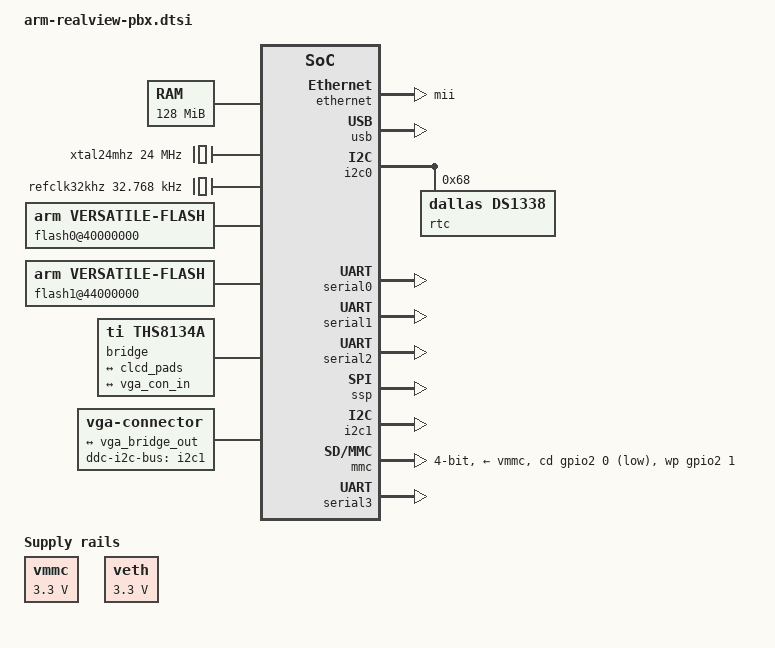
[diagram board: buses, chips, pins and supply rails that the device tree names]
/*
 * Copyright 2016 Linaro Ltd
 *
 * Permission is hereby granted, free of charge, to any person obtaining a copy
 * of this software and associated documentation files (the "Software"), to deal
 * in the Software without restriction, including without limitation the rights
 * to use, copy, modify, merge, publish, distribute, sublicense, and/or sell
 * copies of the Software, and to permit persons to whom the Software is
 * furnished to do so, subject to the following conditions:
 *
 * The above copyright notice and this permission notice shall be included in
 * all copies or substantial portions of the Software.
 *
 * THE SOFTWARE IS PROVIDED "AS IS", WITHOUT WARRANTY OF ANY KIND, EXPRESS OR
 * IMPLIED, INCLUDING BUT NOT LIMITED TO THE WARRANTIES OF MERCHANTABILITY,
 * FITNESS FOR A PARTICULAR PURPOSE AND NONINFRINGEMENT. IN NO EVENT SHALL
 * THE AUTHORS OR COPYRIGHT HOLDERS BE LIABLE FOR ANY CLAIM, DAMAGES OR OTHER
 * LIABILITY, WHETHER IN AN ACTION OF CONTRACT, TORT OR OTHERWISE, ARISING FROM,
 * OUT OF OR IN CONNECTION WITH THE SOFTWARE OR THE USE OR OTHER DEALINGS IN
 * THE SOFTWARE.
 */

#include <dt-bindings/interrupt-controller/irq.h>
#include <dt-bindings/gpio/gpio.h>
#include "skeleton.dtsi"

/ {
	compatible = "arm,realview-pbx";

	chosen { };

	aliases {
		serial0 = &serial0;
		serial1 = &serial1;
		serial2 = &serial2;
		serial3 = &serial3;
		i2c0 = &i2c0;
		i2c1 = &i2c1;
	};

	memory {
		/* 128 MiB memory @ 0x0 */
		reg = <0x00000000 0x08000000>;
	};

	/* The voltage to the MMC card is hardwired at 3.3V */
	vmmc: regulator-vmmc {
		compatible = "regulator-fixed";
		regulator-name = "vmmc";
		regulator-min-microvolt = <3300000>;
		regulator-max-microvolt = <3300000>;
		regulator-boot-on;
        };

	veth: regulator-veth {
		compatible = "regulator-fixed";
		regulator-name = "veth";
		regulator-min-microvolt = <3300000>;
		regulator-max-microvolt = <3300000>;
		regulator-boot-on;
	};

	xtal24mhz: xtal24mhz@24M {
		#clock-cells = <0>;
		compatible = "fixed-clock";
		clock-frequency = <24000000>;
	};

	refclk32khz: refclk32khz {
		#clock-cells = <0>;
		compatible = "fixed-clock";
		clock-frequency = <32768>;
	};

	timclk: timclk@1M {
		#clock-cells = <0>;
		compatible = "fixed-factor-clock";
		clock-div = <24>;
		clock-mult = <1>;
		clocks = <&xtal24mhz>;
	};

	mclk: mclk@24M {
		#clock-cells = <0>;
		compatible = "fixed-factor-clock";
		clock-div = <1>;
		clock-mult = <1>;
		clocks = <&xtal24mhz>;
	};

	kmiclk: kmiclk@24M {
		#clock-cells = <0>;
		compatible = "fixed-factor-clock";
		clock-div = <1>;
		clock-mult = <1>;
		clocks = <&xtal24mhz>;
	};

	sspclk: sspclk@24M {
		#clock-cells = <0>;
		compatible = "fixed-factor-clock";
		clock-div = <1>;
		clock-mult = <1>;
		clocks = <&xtal24mhz>;
	};

	uartclk: uartclk@24M {
		#clock-cells = <0>;
		compatible = "fixed-factor-clock";
		clock-div = <1>;
		clock-mult = <1>;
		clocks = <&xtal24mhz>;
	};

	wdogclk: wdogclk@24M {
		#clock-cells = <0>;
		compatible = "fixed-factor-clock";
		clock-div = <1>;
		clock-mult = <1>;
		clocks = <&xtal24mhz>;
	};

	/* FIXME: this actually hangs off the PLL clocks */
	pclk: pclk@0 {
		#clock-cells = <0>;
		compatible = "fixed-clock";
		clock-frequency = <0>;
	};

	flash0@40000000 {
		/* 2 * 32MiB NOR Flash memory */
		compatible = "arm,versatile-flash", "cfi-flash";
		reg = <0x40000000 0x04000000>;
		bank-width = <4>;
	};

	flash1@44000000 {
		/* 2 * 32MiB NOR Flash memory */
		compatible = "arm,versatile-flash", "cfi-flash";
		reg = <0x44000000 0x04000000>;
		bank-width = <4>;
	};

	/* SMSC 9118 ethernet with PHY and EEPROM */
	ethernet: ethernet@4e000000 {
		compatible = "smsc,lan9118", "smsc,lan9115";
		reg = <0x4e000000 0x10000>;
		phy-mode = "mii";
		reg-io-width = <4>;
		smsc,irq-active-high;
		smsc,irq-push-pull;
		vdd33a-supply = <&veth>;
		vddvario-supply = <&veth>;
	};

	usb: usb@4f000000 {
		compatible = "nxp,usb-isp1761";
		reg = <0x4f000000 0x20000>;
		port1-otg;
	};

	bridge {
		compatible = "ti,ths8134a", "ti,ths8134";
		#address-cells = <1>;
		#size-cells = <0>;

		ports {
			#address-cells = <1>;
			#size-cells = <0>;

			port@0 {
				reg = <0>;

				vga_bridge_in: endpoint {
					remote-endpoint = <&clcd_pads>;
				};
			};

			port@1 {
				reg = <1>;

				vga_bridge_out: endpoint {
					remote-endpoint = <&vga_con_in>;
				};
			};
		};
	};

	vga {
		/*
		 * This DDC I2C is connected directly to the DVI portions
		 * of the connector, so it's not really working when the
		 * monitor is connected to the VGA connector.
		 */
		compatible = "vga-connector";
		ddc-i2c-bus = <&i2c1>;

		port {
			vga_con_in: endpoint {
				remote-endpoint = <&vga_bridge_out>;
			};
		};
	};

	soc: soc@0 {
		compatible = "arm,realview-pbx-soc", "simple-bus";
		#address-cells = <1>;
		#size-cells = <1>;
		regmap = <&syscon>;
		ranges;

		syscon: syscon@10000000 {
			compatible = "arm,realview-pbx-syscon", "syscon", "simple-mfd";
			reg = <0x10000000 0x1000>;

			led@08.0 {
				compatible = "register-bit-led";
				offset = <0x08>;
				mask = <0x01>;
				label = "versatile:0";
				linux,default-trigger = "heartbeat";
				default-state = "on";
			};
			led@08.1 {
				compatible = "register-bit-led";
				offset = <0x08>;
				mask = <0x02>;
				label = "versatile:1";
				linux,default-trigger = "mmc0";
				default-state = "off";
			};
			led@08.2 {
				compatible = "register-bit-led";
				offset = <0x08>;
				mask = <0x04>;
				label = "versatile:2";
				linux,default-trigger = "cpu0";
				default-state = "off";
			};
			led@08.3 {
				compatible = "register-bit-led";
				offset = <0x08>;
				mask = <0x08>;
				label = "versatile:3";
				default-state = "off";
			};
			led@08.4 {
				compatible = "register-bit-led";
				offset = <0x08>;
				mask = <0x10>;
				label = "versatile:4";
				default-state = "off";
			};
			led@08.5 {
				compatible = "register-bit-led";
				offset = <0x08>;
				mask = <0x20>;
				label = "versatile:5";
				default-state = "off";
			};
			led@08.6 {
				compatible = "register-bit-led";
				offset = <0x08>;
				mask = <0x40>;
				label = "versatile:6";
				default-state = "off";
			};
			led@08.7 {
				compatible = "register-bit-led";
				offset = <0x08>;
				mask = <0x80>;
				label = "versatile:7";
				default-state = "off";
			};
			oscclk0: osc0@0c {
				compatible = "arm,syscon-icst307";
				#clock-cells = <0>;
				lock-offset = <0x20>;
				vco-offset = <0x0C>;
				clocks = <&xtal24mhz>;
			};
			oscclk1: osc1@10 {
				compatible = "arm,syscon-icst307";
				#clock-cells = <0>;
				lock-offset = <0x20>;
				vco-offset = <0x10>;
				clocks = <&xtal24mhz>;
			};
			oscclk2: osc2@14 {
				compatible = "arm,syscon-icst307";
				#clock-cells = <0>;
				lock-offset = <0x20>;
				vco-offset = <0x14>;
				clocks = <&xtal24mhz>;
			};
			oscclk3: osc3@18 {
				compatible = "arm,syscon-icst307";
				#clock-cells = <0>;
				lock-offset = <0x20>;
				vco-offset = <0x18>;
				clocks = <&xtal24mhz>;
			};
			oscclk4: osc4@1c {
				compatible = "arm,syscon-icst307";
				#clock-cells = <0>;
				lock-offset = <0x20>;
				vco-offset = <0x1c>;
				clocks = <&xtal24mhz>;
			};
		};

		sp810_syscon0: sysctl@10001000 {
			compatible = "arm,sp810", "arm,primecell";
			reg = <0x10001000 0x1000>;
			clocks = <&refclk32khz>, <&timclk>, <&xtal24mhz>;
			clock-names = "refclk", "timclk", "apb_pclk";
			#clock-cells = <1>;
			clock-output-names = "timerclk0",
					     "timerclk1",
					     "timerclk2",
					     "timerclk3";
			assigned-clocks = <&sp810_syscon0 0>,
					  <&sp810_syscon0 1>,
					  <&sp810_syscon0 2>,
					  <&sp810_syscon0 3>;
			assigned-clock-parents = <&timclk>,
					       <&timclk>,
					       <&timclk>,
					       <&timclk>;
		};

		i2c0: i2c@10002000 {
			#address-cells = <1>;
			#size-cells = <0>;
			compatible = "arm,versatile-i2c";
			reg = <0x10002000 0x1000>;

			rtc@68 {
				compatible = "dallas,ds1338";
				reg = <0x68>;
			};
		};

		serial0: serial@10009000 {
			compatible = "arm,pl011", "arm,primecell";
			reg = <0x10009000 0x1000>;
			clocks = <&uartclk>, <&pclk>;
			clock-names = "uartclk", "apb_pclk";
		};

		serial1: serial@1000a000 {
			compatible = "arm,pl011", "arm,primecell";
			reg = <0x1000a000 0x1000>;
			clocks = <&uartclk>, <&pclk>;
			clock-names = "uartclk", "apb_pclk";
		};

		serial2: serial@1000b000 {
			compatible = "arm,pl011", "arm,primecell";
			reg = <0x1000b000 0x1000>;
			clocks = <&uartclk>, <&pclk>;
			clock-names = "uartclk", "apb_pclk";
		};

		ssp: spi@1000d000 {
			compatible = "arm,pl022", "arm,primecell";
			reg = <0x1000d000 0x1000>;
			clocks = <&sspclk>, <&pclk>;
			clock-names = "SSPCLK", "apb_pclk";
		};

		wdog0: watchdog@1000f000 {
			compatible = "arm,sp805", "arm,primecell";
			reg = <0x1000f000 0x1000>;
			clocks = <&wdogclk>, <&pclk>;
			clock-names = "wdogclk", "apb_pclk";
			status = "disabled";
		};

		wdog1: watchdog@10010000 {
			compatible = "arm,sp805", "arm,primecell";
			reg = <0x10010000 0x1000>;
			clocks = <&wdogclk>, <&pclk>;
			clock-names = "wdogclk", "apb_pclk";
			status = "disabled";
		};

		timer01: timer@10011000 {
			compatible = "arm,sp804", "arm,primecell";
			reg = <0x10011000 0x1000>;
			clocks = <&sp810_syscon0 0>,
			         <&sp810_syscon0 1>,
				 <&pclk>;
			clock-names = "timerclk0",
				    "timerclk1",
				    "apb_pclk";
		};

		timer23: timer@10012000 {
			compatible = "arm,sp804", "arm,primecell";
			reg = <0x10012000 0x1000>;
			clocks = <&sp810_syscon0 2>,
			         <&sp810_syscon0 3>,
				 <&pclk>;
			clock-names = "timerclk2",
				    "timerclk3",
				    "apb_pclk";
		};

		gpio0: gpio@10013000 {
			compatible = "arm,pl061", "arm,primecell";
			reg = <0x10013000 0x1000>;
			gpio-controller;
			#gpio-cells = <2>;
			interrupt-controller;
			#interrupt-cells = <2>;
			clocks = <&pclk>;
			clock-names = "apb_pclk";
		};

		gpio1: gpio@10014000 {
			compatible = "arm,pl061", "arm,primecell";
			reg = <0x10014000 0x1000>;
			gpio-controller;
			#gpio-cells = <2>;
			interrupt-controller;
			#interrupt-cells = <2>;
			clocks = <&pclk>;
			clock-names = "apb_pclk";
		};

		gpio2: gpio@10015000 {
			compatible = "arm,pl061", "arm,primecell";
			reg = <0x10015000 0x1000>;
			gpio-controller;
			#gpio-cells = <2>;
			interrupt-controller;
			#interrupt-cells = <2>;
			clocks = <&pclk>;
			clock-names = "apb_pclk";
		};

		i2c1: i2c@10016000 {
			#address-cells = <1>;
			#size-cells = <0>;
			compatible = "arm,versatile-i2c";
			reg = <0x10016000 0x1000>;
		};

		rtc: rtc@10017000 {
			compatible = "arm,pl031", "arm,primecell";
			reg = <0x10017000 0x1000>;
			clocks = <&pclk>;
			clock-names = "apb_pclk";
		};

		timer45: timer@10018000 {
			compatible = "arm,sp804", "arm,primecell";
			reg = <0x10018000 0x1000>;
			clocks = <&timclk>, <&timclk>, <&pclk>;
			clock-names = "timerclk4", "timerclk5", "apb_pclk";
		};

		timer67: timer@10019000 {
			compatible = "arm,sp804", "arm,primecell";
			reg = <0x10019000 0x1000>;
			clocks = <&timclk>, <&timclk>, <&pclk>;
			clock-names = "timerclk6", "timerclk7", "apb_pclk";
		};

		sp810_syscon1: sysctl@1001a000 {
			compatible = "arm,sp810", "arm,primecell";
			reg = <0x1001a000 0x1000>;
			clocks = <&refclk32khz>, <&timclk>, <&xtal24mhz>;
			clock-names = "refclk", "timclk", "apb_pclk";
			#clock-cells = <1>;
			clock-output-names = "timerclk4",
					     "timerclk5",
					     "timerclk6",
					     "timerclk7";
			assigned-clocks = <&sp810_syscon1 0>,
					  <&sp810_syscon1 1>,
					  <&sp810_syscon1 2>,
					  <&sp810_syscon1 3>;
			assigned-clock-parents = <&timclk>,
					       <&timclk>,
					       <&timclk>,
					       <&timclk>;
		};
	};


	/* These peripherals are inside the FPGA */
	fpga {
		#address-cells = <1>;
		#size-cells = <1>;
		compatible = "simple-bus";
		ranges;

		aaci: aaci@10004000 {
			compatible = "arm,pl041", "arm,primecell";
			reg = <0x10004000 0x1000>;
			clocks = <&pclk>;
			clock-names = "apb_pclk";
		};

		mmc: mmcsd@10005000 {
			compatible = "arm,pl18x", "arm,primecell";
			reg = <0x10005000 0x1000>;

			/* Due to frequent FIFO overruns, use just 500 kHz */
			max-frequency = <500000>;
			bus-width = <4>;
			cap-sd-highspeed;
			cap-mmc-highspeed;
			clocks = <&mclk>, <&pclk>;
			clock-names = "mclk", "apb_pclk";
			vmmc-supply = <&vmmc>;
			cd-gpios = <&gpio2 0 GPIO_ACTIVE_LOW>;
			wp-gpios = <&gpio2 1 GPIO_ACTIVE_HIGH>;
		};

		kmi0: kmi@10006000 {
			compatible = "arm,pl050", "arm,primecell";
			reg = <0x10006000 0x1000>;
			clocks = <&kmiclk>, <&pclk>;
			clock-names = "KMIREFCLK", "apb_pclk";
		};

		kmi1: kmi@10007000 {
			compatible = "arm,pl050", "arm,primecell";
			reg = <0x10007000 0x1000>;
			clocks = <&kmiclk>, <&pclk>;
			clock-names = "KMIREFCLK", "apb_pclk";
		};

		serial3: serial@1000c000 {
			compatible = "arm,pl011", "arm,primecell";
			reg = <0x1000c000 0x1000>;
			clocks = <&uartclk>, <&pclk>;
			clock-names = "uartclk", "apb_pclk";
		};
	};

	/* These peripherals are inside the NEC ISSP */
	issp {
		#address-cells = <1>;
		#size-cells = <1>;
		compatible = "simple-bus";
		ranges;

		clcd: clcd@10020000 {
			compatible = "arm,pl111", "arm,primecell";
			reg = <0x10020000 0x1000>;
			interrupt-names = "combined";
			clocks = <&oscclk4>, <&pclk>;
			clock-names = "clcdclk", "apb_pclk";
			/* 1024x768 16bpp @65MHz works fine */
			max-memory-bandwidth = <95000000>;

			port {
				clcd_pads: endpoint {
					remote-endpoint = <&vga_bridge_in>;
					arm,pl11x,tft-r0g0b0-pads = <0 8 16>;
				};
			};
		};
	};
};
